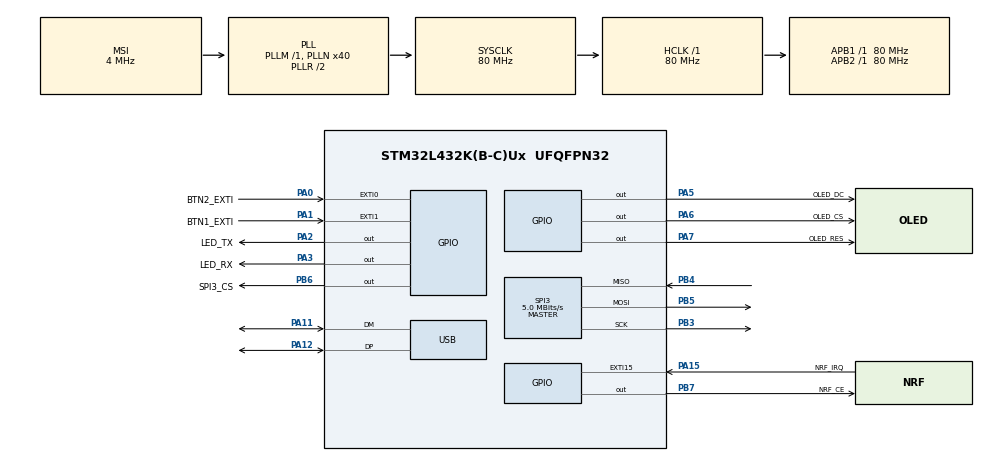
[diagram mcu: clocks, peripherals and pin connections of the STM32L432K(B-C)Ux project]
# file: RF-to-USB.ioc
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Mcu.Family=STM32L4
Mcu.Name=STM32L432K(B-C)Ux
Mcu.Package=UFQFPN32
NVIC.EXTI0_IRQn=true\:0\:0\:false\:false\:true\:true\:true\:true
NVIC.EXTI15_10_IRQn=true\:0\:0\:false\:false\:true\:true\:true\:true
NVIC.EXTI1_IRQn=true\:0\:0\:false\:false\:true\:true\:true\:true
NVIC.PriorityGroup=NVIC_PRIORITYGROUP_4
NVIC.SPI3_IRQn=true\:0\:0\:false\:false\:true\:true\:true\:true
NVIC.USB_IRQn=true\:0\:0\:false\:false\:true\:false\:true\:true
PA0.GPIO_Label=BTN2_EXTI
PA0.Signal=GPXTI0
PA1.GPIO_Label=BTN1_EXTI
PA1.Signal=GPXTI1
PA11.Mode=Device
PA11.Signal=USB_DM
PA12.Mode=Device
PA12.Signal=USB_DP
PA13\ (JTMS-SWDIO).Mode=Serial_Wire
PA13\ (JTMS-SWDIO).Signal=SYS_JTMS-SWDIO
PA14\ (JTCK-SWCLK).Mode=Serial_Wire
PA14\ (JTCK-SWCLK).Signal=SYS_JTCK-SWCLK
PA15\ (JTDI).GPIO_Label=NRF_IRQ
PA15\ (JTDI).GPIO_ModeDefaultEXTI=GPIO_MODE_IT_FALLING
PA15\ (JTDI).Signal=GPXTI15
PA2.GPIO_Label=LED_TX
PA2.Signal=GPIO_Output
PA3.GPIO_Label=LED_RX
PA3.Signal=GPIO_Output
PA5.GPIO_Label=OLED_DC
PA5.Signal=GPIO_Output
PA6.GPIO_Label=OLED_CS
PA6.PinState=GPIO_PIN_SET
PA6.Signal=GPIO_Output
PA7.GPIO_Label=OLED_RES
PA7.Signal=GPIO_Output
PB3\ (JTDO-TRACESWO).Mode=Full_Duplex_Master
PB3\ (JTDO-TRACESWO).Signal=SPI3_SCK
PB4\ (NJTRST).Mode=Full_Duplex_Master
PB4\ (NJTRST).Signal=SPI3_MISO
PB5.Mode=Full_Duplex_Master
PB5.Signal=SPI3_MOSI
PB6.GPIO_Label=SPI3_CS
PB6.GPIO_Speed=GPIO_SPEED_FREQ_HIGH
PB6.PinState=GPIO_PIN_SET
PB6.Signal=GPIO_Output
PB7.GPIO_Label=NRF_CE
PB7.GPIO_Speed=GPIO_SPEED_FREQ_HIGH
PB7.Signal=GPIO_Output
ProjectManager.HeapSize=0x200
ProjectManager.StackSize=0x400
ProjectManager.TargetToolchain=STM32CubeIDE
RCC.ADCFreq_Value=48000000
RCC.AHBFreq_Value=80000000
RCC.APB1Freq_Value=80000000
RCC.APB1TimFreq_Value=80000000
RCC.APB2Freq_Value=80000000
RCC.APB2TimFreq_Value=80000000
RCC.CortexFreq_Value=80000000
RCC.HCLKFreq_Value=80000000
RCC.HSE_VALUE=8000000
RCC.HSI48_VALUE=48000000
RCC.HSI_VALUE=16000000
RCC.LSE_VALUE=32768
RCC.MSI_VALUE=4000000
RCC.PLLN=40
RCC.PLLSAI1N=24
RCC.SYSCLKFreq_VALUE=80000000
RCC.SYSCLKSource=RCC_SYSCLKSOURCE_PLLCLK
RCC.USBFreq_Value=48000000
RCC.VCOOutputFreq_Value=160000000
SPI3.BaudRatePrescaler=SPI_BAUDRATEPRESCALER_16
SPI3.CalculateBaudRate=5.0 MBits/s
SPI3.DataSize=SPI_DATASIZE_8BIT
SPI3.Direction=SPI_DIRECTION_2LINES
SPI3.Mode=SPI_MODE_MASTER
SPI3.VirtualType=VM_MASTER
USB_DEVICE.CLASS_NAME_FS=CDC
USB_DEVICE.VirtualMode=Cdc
USB_DEVICE.VirtualModeFS=Cdc_FS
VP_RCC_USB.Mode=CRS SYNC Source USB
VP_USB_DEVICE_VS_USB_DEVICE_CDC_FS.Mode=CDC_FS
board=custom

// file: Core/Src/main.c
/* USER CODE BEGIN Header */
/**
  ******************************************************************************
  * @file           : main.c
  * @brief          : Main program body
  ******************************************************************************
  */
/* USER CODE END Header */

#include "main.h"

/* USER CODE BEGIN Includes */
#include "ssd1306.h"
#include "ssd1306_fonts.h"
#include "nrf24.h"
#include "usbd_cdc_if.h"   /* CDC_Transmit_FS — for echoing back to host     */
#include "stdio.h"
#include "string.h"
/* USER CODE END Includes */

/* USER CODE BEGIN PTD */
typedef enum {
    STATE_INIT,
    STATE_READY,
    STATE_TRANSMIT,
    STATE_RECEIVE,
} State;
/* USER CODE END PTD */

/* USER CODE BEGIN PD */
#define LED_BLINK_READY_MS   500
#define LED_FLASH_TX_MS       80
#define LED_FLASH_RX_MS       80

/* Shared RF config */
static const uint8_t RF_ADDR[5] = {'N','O','D','E','1'};
#define RF_CHANNEL  2
#define RF_PAYLOAD 32

/* Maximum user message length is capped at the nRF24 payload size */
#define MSG_MAX_LEN RF_PAYLOAD
/* USER CODE END PD */

SPI_HandleTypeDef hspi3;
extern PCD_HandleTypeDef hpcd_USB_FS;

/* USER CODE BEGIN PV */
State    currentState = STATE_INIT;
uint32_t lastLedTick  = 0;
uint32_t ledTxOffTick = 0;
uint32_t ledRxOffTick = 0;
static State prevState = (State)-1;

/* ---- USB CDC receive buffer -------------------------------------------- */
/* Written from CDC_DataReceivedCallback (USB interrupt context).
   Read and cleared from the main loop (STATE_TRANSMIT polling).
   volatile ensures the compiler doesn't cache stale values.               */
static volatile uint8_t  usbMsgPending = 0;          /* 1 = new message     */
static volatile uint8_t  usbMsg[MSG_MAX_LEN + 1];    /* +1 for '\0'         */
static volatile uint8_t  usbMsgLen = 0;

/* ---- Display cache ------------------------------------------------------- */
static char dispLine1[17] = {0};
static char dispLine2[17] = {0};
/* USER CODE END PV */

void SystemClock_Config(void);
static void MX_GPIO_Init(void);
static void MX_SPI3_Init(void);
static void MX_USB_PCD_Init(void);
/* USER CODE BEGIN PFP */
void runStateMachine(void);
void UpdateDisplay(const char *line1, const char *line2);
void UpdateDisplayLine2(const char *line2);
/* USER CODE END PFP */

/* USER CODE BEGIN 0 */

/**
  * @brief  Called from CDC_Receive_FS in usbd_cdc_if.c (USB interrupt context).
  *         Copies the incoming bytes into the pending-message buffer.
  *         Strip any trailing CR / LF so the raw text hits the RF payload.
  */
void CDC_DataReceivedCallback(uint8_t *buf, uint32_t len)
{
    if (usbMsgPending) return;          /* previous message not sent yet — drop */

    /* Clamp to payload capacity */
    if (len > MSG_MAX_LEN) len = MSG_MAX_LEN;

    /* Strip trailing CR / LF (common when sending from a terminal) */
    while (len > 0 && (buf[len - 1] == '\r' || buf[len - 1] == '\n'))
        len--;

    if (len == 0) return;               /* blank line — ignore */

    memcpy((uint8_t *)usbMsg, buf, len);
    usbMsg[len] = '\0';
    usbMsgLen   = (uint8_t)len;
    usbMsgPending = 1;                  /* signal main loop */
}

void UpdateDisplay(const char *line1, const char *line2)
{
    if (line1) { strncpy(dispLine1, line1, 16); dispLine1[16] = '\0'; }
    if (line2) { strncpy(dispLine2, line2, 16); dispLine2[16] = '\0'; }
    ssd1306_Fill(Black);
    ssd1306_SetCursor(2, 0);
    ssd1306_WriteString(dispLine1, Font_16x15, White);
    ssd1306_SetCursor(2, 17);
    ssd1306_WriteString(dispLine2, Font_16x15, White);
    ssd1306_UpdateScreen();
}

void UpdateDisplayLine2(const char *line2)
{
    UpdateDisplay(NULL, line2);
}

/* USER CODE END 0 */

int main(void)
{
  HAL_Init();
  SystemClock_Config();
  MX_GPIO_Init();
  MX_SPI3_Init();
  MX_USB_PCD_Init();
  MX_USB_DEVICE_Init();

  /* USER CODE BEGIN 2 */
  HAL_GPIO_WritePin(LED_TX_GPIO_Port, LED_TX_Pin, GPIO_PIN_RESET);
  HAL_GPIO_WritePin(LED_RX_GPIO_Port, LED_RX_Pin, GPIO_PIN_RESET);

  ssd1306_Init();

  /* USB device stack is started by MX_USB_PCD_Init via the generated
     usb_device.c / MX_USB_DEVICE_Init().  Nothing extra needed here.  */

  /* USER CODE END 2 */

  while (1)
  {
    runStateMachine();
    HAL_Delay(10);
  }
}

/* USER CODE BEGIN 4 */

void runStateMachine(void)
{
    uint32_t now = HAL_GetTick();

    uint8_t isNewState = (currentState != prevState);
    prevState = currentState;

    /* ------------------------------------------------------------------ */
    /* Entry actions                                                        */
    /* ------------------------------------------------------------------ */
    if (isNewState)
    {
        HAL_GPIO_WritePin(LED_TX_GPIO_Port, LED_TX_Pin, GPIO_PIN_RESET);
        HAL_GPIO_WritePin(LED_RX_GPIO_Port, LED_RX_Pin, GPIO_PIN_RESET);
        lastLedTick = now;

        switch (currentState)
        {
            case STATE_INIT:
                UpdateDisplay("Checking...", "");
                nRF24_CE_L();
                nRF24_Init();
                if (nRF24_Check())
                {
                    UpdateDisplay("nRF24 OK", "");
                    HAL_Delay(1000);
                    currentState = STATE_READY;
                    return;
                }
                else
                {
                    UpdateDisplay("nRF Error!", "SPI fault?");
                }
                break;

            case STATE_READY:
                UpdateDisplay("Mode Select", "TX    RX");
                HAL_GPIO_WritePin(LED_TX_GPIO_Port, LED_TX_Pin, GPIO_PIN_SET);
                HAL_GPIO_WritePin(LED_RX_GPIO_Port, LED_RX_Pin, GPIO_PIN_SET);
                break;

            case STATE_RECEIVE:
                nRF24_CE_L();
                nRF24_Init();
                nRF24_SetRFChannel(RF_CHANNEL);
                nRF24_SetDataRate(nRF24_DR_1Mbps);
                nRF24_SetTXPower(nRF24_TXPWR_0dBm);
                nRF24_SetCRCScheme(nRF24_CRC_2byte);
                nRF24_SetAddrWidth(5);
                nRF24_DisableAA(0xFF);
                nRF24_SetAddr(nRF24_PIPE0, RF_ADDR);
                nRF24_SetRXPipe(nRF24_PIPE0, nRF24_AA_OFF, RF_PAYLOAD);
                nRF24_SetOperationalMode(nRF24_MODE_RX);
                nRF24_FlushRX();
                nRF24_FlushTX();
                nRF24_ClearIRQFlags();
                nRF24_SetPowerMode(nRF24_PWR_UP);
                HAL_Delay(2);
                nRF24_CE_H();
                UpdateDisplay("RX MODE", "Waiting...");
                HAL_GPIO_WritePin(LED_RX_GPIO_Port, LED_RX_Pin, GPIO_PIN_SET);
                break;

            case STATE_TRANSMIT:
                nRF24_CE_L();
                nRF24_Init();
                nRF24_SetRFChannel(RF_CHANNEL);
                nRF24_SetDataRate(nRF24_DR_1Mbps);
                nRF24_SetTXPower(nRF24_TXPWR_0dBm);
                nRF24_SetCRCScheme(nRF24_CRC_2byte);
                nRF24_SetAddrWidth(5);
                nRF24_DisableAA(0xFF);
                nRF24_SetAddr(nRF24_PIPETX, RF_ADDR);
                nRF24_SetOperationalMode(nRF24_MODE_TX);
                nRF24_FlushRX();
                nRF24_FlushTX();
                nRF24_ClearIRQFlags();
                nRF24_SetPowerMode(nRF24_PWR_UP);
                HAL_Delay(2);

                /* Discard any USB data that arrived before we entered TX mode */
                usbMsgPending = 0;

                UpdateDisplay("TX MODE", "Waiting USB...");
                /* TX LED on steadily while idle */
                HAL_GPIO_WritePin(LED_TX_GPIO_Port, LED_TX_Pin, GPIO_PIN_SET);
                break;
        }
    }

    /* ------------------------------------------------------------------ */
    /* Continuous / polling actions                                         */
    /* ------------------------------------------------------------------ */
    switch (currentState)
    {
        /* ---- READY: both LEDs blink in unison ---- */
        case STATE_READY:
            if (now - lastLedTick >= LED_BLINK_READY_MS)
            {
                HAL_GPIO_TogglePin(LED_TX_GPIO_Port, LED_TX_Pin);
                HAL_GPIO_TogglePin(LED_RX_GPIO_Port, LED_RX_Pin);
                lastLedTick = now;
            }
            break;

        /* ---- RECEIVE: poll FIFO, update display, flash RX LED ---- */
        case STATE_RECEIVE:
        {
            uint8_t payload[RF_PAYLOAD + 1];
            uint8_t payloadLen = 0;

            if (nRF24_GetStatus_RXFIFO() != nRF24_STATUS_RXFIFO_EMPTY)
            {
                nRF24_ReadPayload(payload, &payloadLen);
                if (payloadLen == 0 || payloadLen > RF_PAYLOAD) payloadLen = RF_PAYLOAD;
                payload[payloadLen] = '\0';

                nRF24_ClearIRQFlags();
                UpdateDisplayLine2((char *)payload);

                HAL_GPIO_WritePin(LED_RX_GPIO_Port, LED_RX_Pin, GPIO_PIN_SET);
                ledRxOffTick = now + LED_FLASH_RX_MS;
            }

            if (ledRxOffTick && now >= ledRxOffTick)
            {
                HAL_GPIO_WritePin(LED_RX_GPIO_Port, LED_RX_Pin, GPIO_PIN_RESET);
                ledRxOffTick = 0;
            }
            break;
        }

        /* ---- TRANSMIT: send whatever arrives over USB CDC ---- */
        case STATE_TRANSMIT:
        {
            if (usbMsgPending)
            {
                /* Snapshot the message and release the buffer immediately so
                   the USB ISR can accept the next packet without waiting for
                   the RF transmission to complete.                          */
                uint8_t txData[RF_PAYLOAD] = {0};
                uint8_t msgLen = usbMsgLen;
                memcpy(txData, (const uint8_t *)usbMsg, msgLen);
                usbMsgPending = 0;              /* release buffer */

                /* Show the outgoing message on line 2 of the display */
                UpdateDisplay("TX MODE", (char *)txData);

                /* Transmit over RF */
                nRF24_WritePayload(txData, RF_PAYLOAD);
                nRF24_CE_H();
                HAL_Delay(1);                   /* ≥10 µs CE pulse */
                nRF24_CE_L();
                nRF24_ClearIRQFlags();

                /* Echo confirmation back to the host terminal */
                char echo[48];
                int echoLen = snprintf(echo, sizeof(echo),
                                       "SENT: %.*s\r\n", msgLen, txData);
                CDC_Transmit_FS((uint8_t *)echo, (uint16_t)echoLen);

                /* Flash TX LED */
                HAL_GPIO_WritePin(LED_TX_GPIO_Port, LED_TX_Pin, GPIO_PIN_SET);
                ledTxOffTick = now + LED_FLASH_TX_MS;
            }

            if (ledTxOffTick && now >= ledTxOffTick)
            {
                HAL_GPIO_WritePin(LED_TX_GPIO_Port, LED_TX_Pin, GPIO_PIN_RESET);
                ledTxOffTick = 0;
            }
            break;
        }

        default:
            break;
    }
}

void HAL_GPIO_EXTI_Callback(uint16_t GPIO_PIN)
{
    static uint32_t lastPress = 0;
    if (HAL_GetTick() - lastPress < 200) return;
    lastPress = HAL_GetTick();

    if (GPIO_PIN == BTN1_EXTI_Pin)
    {
        if (currentState == STATE_READY) currentState = STATE_TRANSMIT;
        else                             currentState = STATE_READY;
    }
    else if (GPIO_PIN == BTN2_EXTI_Pin)
    {
        if (currentState == STATE_READY) currentState = STATE_RECEIVE;
        else                             currentState = STATE_READY;
    }
}

/* USER CODE END 4 */

void SystemClock_Config(void)
{
  RCC_OscInitTypeDef RCC_OscInitStruct = {0};
  RCC_ClkInitTypeDef RCC_ClkInitStruct = {0};
  RCC_CRSInitTypeDef RCC_CRSInitStruct = {0};

  if (HAL_PWREx_ControlVoltageScaling(PWR_REGULATOR_VOLTAGE_SCALE1) != HAL_OK) Error_Handler();

  RCC_OscInitStruct.OscillatorType      = RCC_OSCILLATORTYPE_MSI;
  RCC_OscInitStruct.MSIState            = RCC_MSI_ON;
  RCC_OscInitStruct.MSICalibrationValue = 0;
  RCC_OscInitStruct.MSIClockRange       = RCC_MSIRANGE_6;
  RCC_OscInitStruct.PLL.PLLState        = RCC_PLL_ON;
  RCC_OscInitStruct.PLL.PLLSource       = RCC_PLLSOURCE_MSI;
  RCC_OscInitStruct.PLL.PLLM            = 1;
  RCC_OscInitStruct.PLL.PLLN            = 40;
  RCC_OscInitStruct.PLL.PLLP            = RCC_PLLP_DIV7;
  RCC_OscInitStruct.PLL.PLLQ            = RCC_PLLQ_DIV2;
  RCC_OscInitStruct.PLL.PLLR            = RCC_PLLR_DIV2;
  if (HAL_RCC_OscConfig(&RCC_OscInitStruct) != HAL_OK) Error_Handler();

  RCC_ClkInitStruct.ClockType      = RCC_CLOCKTYPE_HCLK | RCC_CLOCKTYPE_SYSCLK
                                   | RCC_CLOCKTYPE_PCLK1 | RCC_CLOCKTYPE_PCLK2;
  RCC_ClkInitStruct.SYSCLKSource   = RCC_SYSCLKSOURCE_PLLCLK;
  RCC_ClkInitStruct.AHBCLKDivider  = RCC_SYSCLK_DIV1;
  RCC_ClkInitStruct.APB1CLKDivider = RCC_HCLK_DIV1;
  RCC_ClkInitStruct.APB2CLKDivider = RCC_HCLK_DIV1;
  if (HAL_RCC_ClockConfig(&RCC_ClkInitStruct, FLASH_LATENCY_4) != HAL_OK) Error_Handler();

  __HAL_RCC_CRS_CLK_ENABLE();
  RCC_CRSInitStruct.Prescaler             = RCC_CRS_SYNC_DIV1;
  RCC_CRSInitStruct.Source                = RCC_CRS_SYNC_SOURCE_USB;
  RCC_CRSInitStruct.Polarity              = RCC_CRS_SYNC_POLARITY_RISING;
  RCC_CRSInitStruct.ReloadValue           = __HAL_RCC_CRS_RELOADVALUE_CALCULATE(48000000, 1000);
  RCC_CRSInitStruct.ErrorLimitValue       = 34;
  RCC_CRSInitStruct.HSI48CalibrationValue = 32;
  HAL_RCCEx_CRSConfig(&RCC_CRSInitStruct);
}

static void MX_SPI3_Init(void)
{
  hspi3.Instance               = SPI3;
  hspi3.Init.Mode              = SPI_MODE_MASTER;
  hspi3.Init.Direction         = SPI_DIRECTION_2LINES;
  hspi3.Init.DataSize          = SPI_DATASIZE_8BIT;
  hspi3.Init.CLKPolarity       = SPI_POLARITY_LOW;
  hspi3.Init.CLKPhase          = SPI_PHASE_1EDGE;
  hspi3.Init.NSS               = SPI_NSS_SOFT;
  hspi3.Init.BaudRatePrescaler = SPI_BAUDRATEPRESCALER_16;
  hspi3.Init.FirstBit          = SPI_FIRSTBIT_MSB;
  hspi3.Init.TIMode            = SPI_TIMODE_DISABLE;
  hspi3.Init.CRCCalculation    = SPI_CRCCALCULATION_DISABLE;
  hspi3.Init.CRCPolynomial     = 7;
  hspi3.Init.CRCLength         = SPI_CRC_LENGTH_DATASIZE;
  hspi3.Init.NSSPMode          = SPI_NSS_PULSE_ENABLE;
  if (HAL_SPI_Init(&hspi3) != HAL_OK) Error_Handler();
}

static void MX_USB_PCD_Init(void)
{
  hpcd_USB_FS.Instance                     = USB;
  hpcd_USB_FS.Init.dev_endpoints           = 8;
  hpcd_USB_FS.Init.speed                   = PCD_SPEED_FULL;
  hpcd_USB_FS.Init.phy_itface              = PCD_PHY_EMBEDDED;
  hpcd_USB_FS.Init.Sof_enable              = DISABLE;
  hpcd_USB_FS.Init.low_power_enable        = DISABLE;
  hpcd_USB_FS.Init.lpm_enable              = DISABLE;
  hpcd_USB_FS.Init.battery_charging_enable = DISABLE;
  if (HAL_PCD_Init(&hpcd_USB_FS) != HAL_OK) Error_Handler();
}

static void MX_GPIO_Init(void)
{
  GPIO_InitTypeDef GPIO_InitStruct = {0};

  __HAL_RCC_GPIOA_CLK_ENABLE();
  __HAL_RCC_GPIOB_CLK_ENABLE();

  HAL_GPIO_WritePin(GPIOA, LED_TX_Pin|LED_RX_Pin|OLED_DC_Pin|OLED_RES_Pin, GPIO_PIN_RESET);
  HAL_GPIO_WritePin(OLED_CS_GPIO_Port, OLED_CS_Pin, GPIO_PIN_SET);
  HAL_GPIO_WritePin(SPI3_CS_GPIO_Port, SPI3_CS_Pin, GPIO_PIN_SET);
  HAL_GPIO_WritePin(NRF_CE_GPIO_Port,  NRF_CE_Pin,  GPIO_PIN_RESET);

  GPIO_InitStruct.Pin  = BTN2_EXTI_Pin|BTN1_EXTI_Pin;
  GPIO_InitStruct.Mode = GPIO_MODE_IT_RISING;
  GPIO_InitStruct.Pull = GPIO_NOPULL;
  HAL_GPIO_Init(GPIOA, &GPIO_InitStruct);

  GPIO_InitStruct.Pin   = LED_TX_Pin|LED_RX_Pin|OLED_DC_Pin|OLED_CS_Pin|OLED_RES_Pin;
  GPIO_InitStruct.Mode  = GPIO_MODE_OUTPUT_PP;
  GPIO_InitStruct.Pull  = GPIO_NOPULL;
  GPIO_InitStruct.Speed = GPIO_SPEED_FREQ_LOW;
  HAL_GPIO_Init(GPIOA, &GPIO_InitStruct);

  GPIO_InitStruct.Pin  = NRF_IRQ_Pin;
  GPIO_InitStruct.Mode = GPIO_MODE_IT_FALLING;
  GPIO_InitStruct.Pull = GPIO_NOPULL;
  HAL_GPIO_Init(NRF_IRQ_GPIO_Port, &GPIO_InitStruct);

  GPIO_InitStruct.Pin   = SPI3_CS_Pin|NRF_CE_Pin;
  GPIO_InitStruct.Mode  = GPIO_MODE_OUTPUT_PP;
  GPIO_InitStruct.Pull  = GPIO_NOPULL;
  GPIO_InitStruct.Speed = GPIO_SPEED_FREQ_HIGH;
  HAL_GPIO_Init(GPIOB, &GPIO_InitStruct);

  HAL_NVIC_SetPriority(EXTI0_IRQn,     0, 0); HAL_NVIC_EnableIRQ(EXTI0_IRQn);
  HAL_NVIC_SetPriority(EXTI1_IRQn,     0, 0); HAL_NVIC_EnableIRQ(EXTI1_IRQn);
  HAL_NVIC_SetPriority(EXTI15_10_IRQn, 0, 0); HAL_NVIC_EnableIRQ(EXTI15_10_IRQn);
}

void Error_Handler(void)
{
  __disable_irq();
  while (1) {}
}
